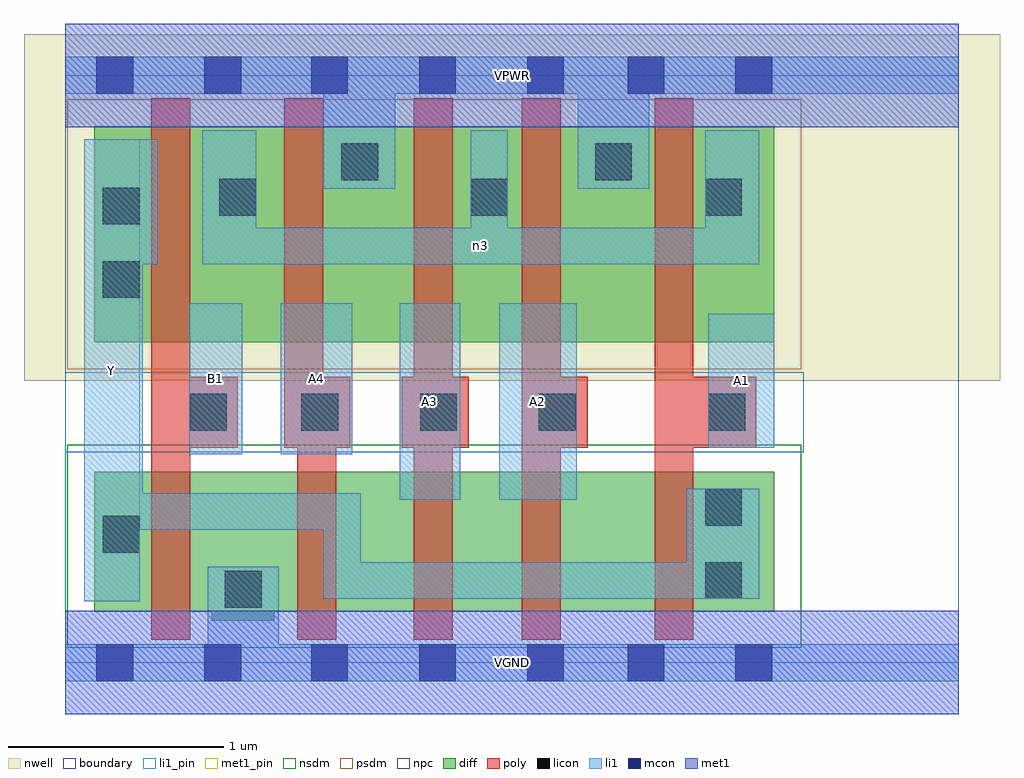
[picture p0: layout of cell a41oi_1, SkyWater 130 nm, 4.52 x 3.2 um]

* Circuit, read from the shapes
.subckt a41oi_1 A1 A2 A3 A4 B1 VGND VPWR Y n3
XM1 VGND B1 Y VSUBS sky130_fd_pr__nfet_01v8 w=0.65 l=0.18
XM2 n1 A4 VGND VSUBS sky130_fd_pr__nfet_01v8 w=0.65 l=0.18
XM3 n2 A3 n1 VSUBS sky130_fd_pr__nfet_01v8 w=0.65 l=0.18
XM4 n4 A2 n2 VSUBS sky130_fd_pr__nfet_01v8 w=0.65 l=0.18
XM5 Y A1 n4 VSUBS sky130_fd_pr__nfet_01v8 w=0.65 l=0.18
XM6 n3 B1 Y n5 sky130_fd_pr__pfet_01v8 w=1 l=0.18
XM7 VPWR A4 n3 n5 sky130_fd_pr__pfet_01v8 w=1 l=0.18
XM8 n3 A3 VPWR n5 sky130_fd_pr__pfet_01v8 w=1 l=0.18
XM9 VPWR A2 n3 n5 sky130_fd_pr__pfet_01v8 w=1 l=0.18
XM10 n3 A1 VPWR n5 sky130_fd_pr__pfet_01v8 w=1 l=0.18
.ends

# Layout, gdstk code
import gdstk
lib = gdstk.Library(unit=1e-6, precision=1e-09)
def R(c, l, rs):  # rectangles x0, y0, x1, y1
    for r in rs: c.add(gdstk.rectangle(r[:2], r[2:], *l))
def A(c, l, x, y, w, h, nx, ny, dx, dy):  # array of equal rectangles
    R(c, l, [(x+i*dx, y+j*dy, x+i*dx+w, y+j*dy+h) for i in range(nx) for j in range(ny)])
nwell = (64, 20)
diff = (65, 20)
poly = (66, 20)
licon = (66, 44)
li1_pin = (67, 16)
li1 = (67, 20)
mcon = (67, 44)
met1_pin = (68, 16)
met1 = (68, 20)
nsdm = (93, 44)
psdm = (94, 20)
npc = (95, 20)
boundary = (235, 4)

a41oi_1 = lib.new_cell('a41oi_1')
R(a41oi_1, nwell, [(-0.19,1.305,4.33,2.91), (0,1.305,4.14,2.91)])
R(a41oi_1, diff, [(0.68,0.195,0.97,0.885), (0.135,0.235,3.285,0.885), (0.135,1.485,3.285,2.485)])
R(a41oi_1, poly, [(0.4,0.105,0.58,2.615), (1.075,0.105,1.255,1.325), (1.615,0.105,1.795,2.615), (2.115,0.105,2.295,2.615), (2.73,0.105,2.91,2.615), (0.4,0.995,0.8,1.325), (1.015,0.995,1.195,2.615), (1.015,0.995,1.32,1.325), (1.56,0.995,1.87,1.325), (2.115,0.995,2.42,1.325), (2.73,0.995,3.2,1.325)])
A(a41oi_1, licon, 1.095, 1.075, 0.17, 0.17, 3, 1, 0.55, 0)
R(a41oi_1, licon, [(0.74,0.255,0.91,0.425), (2.965,0.295,3.135,0.465), (0.175,0.51,0.345,0.68), (2.965,0.635,3.135,0.805), (0.58,1.075,0.75,1.245), (2.98,1.075,3.15,1.245), (0.175,1.69,0.345,1.86), (0.175,2.03,0.345,2.2), (0.715,2.07,0.885,2.24), (1.88,2.07,2.05,2.24), (2.965,2.07,3.135,2.24), (1.28,2.235,1.45,2.405), (2.455,2.235,2.625,2.405)])
R(a41oi_1, li1_pin, [(0.09,0.285,0.345,2.425), (1.55,0.755,1.83,1.665), (2.01,0.755,2.37,1.665), (0.575,0.965,0.82,1.665), (1,0.965,1.33,1.665), (2.98,0.995,3.285,1.615)])
R(a41oi_1, li1, [(0,-0.085,4.14,0.085), (0.66,-0.085,0.99,0.445), (0.09,0.285,0.345,2.425), (1.195,0.295,3.215,0.465), (1.195,0.295,1.37,0.785), (2.88,0.295,3.215,0.805), (0.09,0.615,1.37,0.785), (0.09,0.615,0.36,2.425), (1.55,0.755,1.83,1.665), (2.01,0.755,2.37,1.665), (0.575,0.965,0.82,1.665), (1,0.965,1.33,1.665), (2.98,0.995,3.285,1.615), (0.09,1.845,0.43,2.425), (0.635,1.845,3.215,2.015), (0.635,1.845,0.885,2.465), (1.88,1.845,2.05,2.465), (2.965,1.845,3.215,2.465), (1.195,2.195,1.53,2.805), (2.375,2.195,2.705,2.805), (0,2.635,4.14,2.805)])
A(a41oi_1, mcon, 1.14, -0.085, 0.17, 0.17, 3, 2, 0.5, 2.72)
R(a41oi_1, mcon, [(0.145,-0.085,0.315,0.085), (0.645,-0.085,0.815,0.085), (2.605,-0.085,2.775,0.085), (3.105,-0.085,3.275,0.085), (0.145,2.635,0.315,2.805), (0.645,2.635,0.815,2.805), (2.605,2.635,2.775,2.805), (3.105,2.635,3.275,2.805)])
R(a41oi_1, met1_pin, [(0,-0.24,4.14,0.24), (0,2.48,4.14,2.96)])
R(a41oi_1, met1, [(0,-0.24,4.14,0.24), (0,2.48,4.14,2.96)])
R(a41oi_1, nsdm, [(0.01,0.07,3.41,1.01)])
R(a41oi_1, psdm, [(0.01,1.36,3.41,2.61)])
R(a41oi_1, npc, [(0,0.975,3.42,1.345)])
R(a41oi_1, boundary, [(0,0,4.14,2.72)])
a41oi_1.add(gdstk.Label('A1', (3.132,1.305), layer=67, texttype=5))
a41oi_1.add(gdstk.Label('A2', (2.19,1.21), layer=67, texttype=5))
a41oi_1.add(gdstk.Label('A3', (1.69,1.21), layer=67, texttype=5))
a41oi_1.add(gdstk.Label('A4', (1.165,1.315), layer=67, texttype=5))
a41oi_1.add(gdstk.Label('B1', (0.697,1.315), layer=67, texttype=5))
a41oi_1.add(gdstk.Label('Y', (0.217,1.355), layer=67, texttype=5))
a41oi_1.add(gdstk.Label('n3', (1.925,1.93), layer=67, texttype=5))
a41oi_1.add(gdstk.Label('VPWR', (2.07,2.72), layer=68, texttype=5))
a41oi_1.add(gdstk.Label('VGND', (2.07,0), layer=68, texttype=5))
a41oi_1.add(gdstk.Label('A1', (3.132,1.305), layer=67, texttype=16))
a41oi_1.add(gdstk.Label('A2', (2.19,1.21), layer=67, texttype=16))
a41oi_1.add(gdstk.Label('A3', (1.69,1.21), layer=67, texttype=16))
a41oi_1.add(gdstk.Label('A4', (1.165,1.315), layer=67, texttype=16))
a41oi_1.add(gdstk.Label('B1', (0.697,1.315), layer=67, texttype=16))
a41oi_1.add(gdstk.Label('Y', (0.217,1.355), layer=67, texttype=16))
a41oi_1.add(gdstk.Label('VPWR', (2.07,2.72), layer=68, texttype=16))
a41oi_1.add(gdstk.Label('VGND', (2.07,0), layer=68, texttype=16))

lib.write_gds('a41oi_1.gds')
